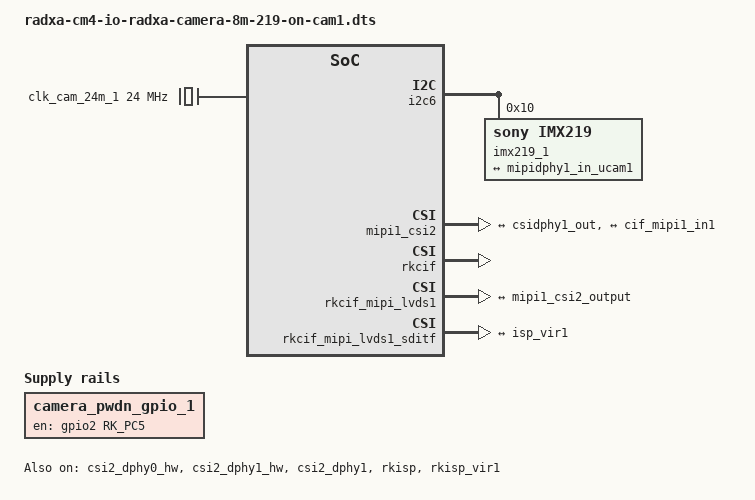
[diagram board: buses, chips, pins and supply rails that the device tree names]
/dts-v1/;
/plugin/;

#include <dt-bindings/gpio/gpio.h>
#include <dt-bindings/pinctrl/rockchip.h>

/ {
	metadata {
		title ="Enable Radxa Camera 8M 219 on CAM1";
		compatible = "radxa,cm4-io";
		category = "camera";
		exclusive = "GPIO2_C5", "csi2_dphy1", "i2c6";
		description = "Enable Radxa Camera 8M 219 on CAM1.";
	};
};

&{/} {
	camera_pwdn_gpio_1: camera-pwdn-gpio-1 {
		compatible = "regulator-fixed";
		regulator-name = "camera_pwdn_gpio_1";
		regulator-always-on;
		regulator-boot-on;
		enable-active-high;
		gpio = <&gpio2 RK_PC5 GPIO_ACTIVE_HIGH>;
		pinctrl-names = "default";
		pinctrl-0 = <&cam_pwdn_gpio_1>;
	};

	clk_cam_24m_1: external-camera-clock-24m-1 {
		compatible = "fixed-clock";
		clock-frequency = <24000000>;
		clock-output-names = "clk_cam_24m_1";
		#clock-cells = <0>;
	};
};


&i2c6 {
	status = "okay";
	pinctrl-names = "default";
	pinctrl-0 = <&i2c6m3_xfer>;

	imx219_1: imx219_1@10 {
		status = "okay";
		compatible = "sony,imx219";
		reg = <0x10>;
		clocks = <&clk_cam_24m_1>;
		clock-names = "xvclk";
		rockchip,camera-module-index = <0>;
		rockchip,camera-module-facing = "back";
		rockchip,camera-module-name = "RADXA-CAMERA-8M";
		rockchip,camera-module-lens-name = "default";

		port {
			imx219_out1: endpoint {
				remote-endpoint = <&mipidphy1_in_ucam1>;
				data-lanes = <1 2>;
			};
		};
	};
};

&csi2_dphy0_hw {
	status = "okay";
};

&csi2_dphy1_hw {
	status = "okay";
};

&csi2_dphy1 {
	status = "okay";

	ports {
		#address-cells = <1>;
		#size-cells = <0>;

		port@0 {
			reg = <0>;
			#address-cells = <1>;
			#size-cells = <0>;

			mipidphy1_in_ucam1: endpoint@2 {
				reg = <2>;
				remote-endpoint = <&imx219_out1>;
				data-lanes = <1 2>;
			};
		};

		port@1 {
			reg = <1>;
			#address-cells = <1>;
			#size-cells = <0>;

			csidphy1_out: endpoint@0 {
				reg = <0>;
				remote-endpoint = <&mipi1_csi2_input>;
			};
		};
	};
};

&mipi1_csi2 {
	status = "okay";

	ports {
		#address-cells = <1>;
		#size-cells = <0>;

		port@0 {
			reg = <0>;
			#address-cells = <1>;
			#size-cells = <0>;

			mipi1_csi2_input: endpoint@1 {
				reg = <1>;
				remote-endpoint = <&csidphy1_out>;
			};
		};

		port@1 {
			reg = <1>;
			#address-cells = <1>;
			#size-cells = <0>;

			mipi1_csi2_output: endpoint@0 {
				reg = <0>;
				remote-endpoint = <&cif_mipi1_in1>;
			};
		};
	};
};

&rkcif {
	status = "okay";
};

&rkcif_mmu {
	status = "okay";
};

&rkcif_mipi_lvds1 {
	status = "okay";

	port {
		cif_mipi1_in1: endpoint {
		    remote-endpoint = <&mipi1_csi2_output>;
		};
	};
};

&rkcif_mipi_lvds1_sditf {
	status = "okay";

	port {
		mipi_lvds1_sditf: endpoint {
			remote-endpoint = <&isp_vir1>;
		};
	};
};

&rkisp_mmu {
	status = "okay";
};

&rkisp {
	status = "okay";
};

&rkisp_vir1 {
	status = "okay";

	port {
		#address-cells = <1>;
		#size-cells = <0>;

		isp_vir1: endpoint@0 {
			reg = <0>;
			remote-endpoint = <&mipi_lvds1_sditf>;
		};
	};
};

// &rkisp_vir0_sditf {
// 	status = "okay";
// };

// &rkvpss {
// 	status = "okay";
// };

// &rkvpss_mmu {
// 	status = "okay";
// };

// &rkvpss_vir0 {
// 	status = "okay";
// };

&pinctrl {
	camera {
		cam_pwdn_gpio_1: cam-pwdn-gpio-1 {
			rockchip,pins = <2 RK_PC5 RK_FUNC_GPIO &pcfg_pull_up>;
		};
	};
};
